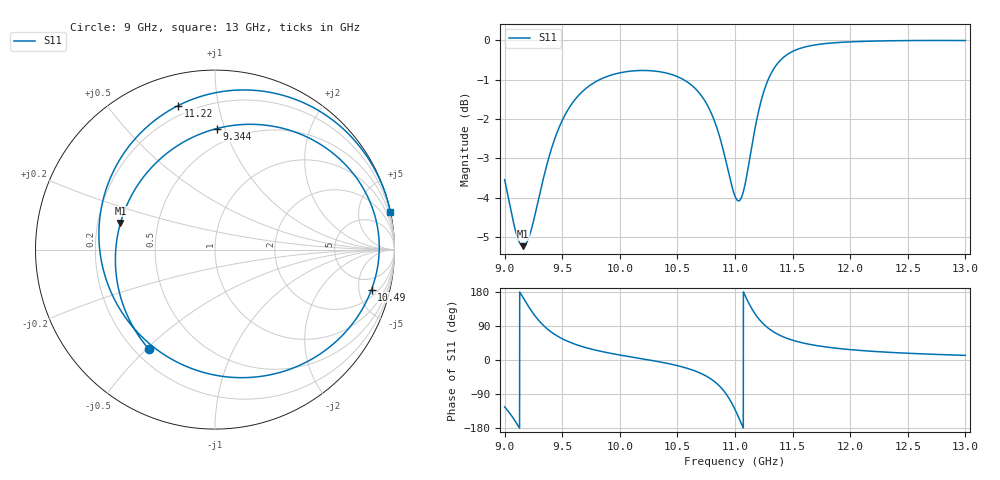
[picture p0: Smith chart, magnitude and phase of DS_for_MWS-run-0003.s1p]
! TOUCHSTONE file generated by CST DESIGN STUDIO
! Date and time: Tue Feb  4 14:30:02 2025
! Project name: C:\Work\MatlabApps\UnitCellOptimizationMatlab\CST\unitcell.cst
! Tree item: Tasks\Sweep1\SPara1\S-Parameters
! Header version: 2024
! Port assignment regex: !\s*Touchstone port\s*([0-9]+)\s*=\s*(CST MWS port|CST DES external port|CST DES block port)\s*(.+)\s* \(\"(.*)\"\)(\s*mode\s*([0-9]+))?.*
! Touchstone port assignment:
! Touchstone port 1 = CST DES external port 1 ("")
# GHz S MA R 50
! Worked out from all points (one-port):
!   4001 points, 9 GHz to 13 GHz, reference 50 ohm
!   lowest |S11| = -5.2 dB at 9.161 GHz (marker M1), VSWR 3.42, Z = 14.9 + j6.32 ohm
!   |S11| at or under -10 dB: nowhere
!   S11 on the Smith chart (normalised r, x): 9 GHz: 0.26, -0.51; 9.344 GHz: 0.38, +0.94; 10.49 GHz: 2.89, -6.76; 11.22 GHz: 0.15, +0.76; 13 GHz: 0.03, +9.38
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9  0.6651 -123.8
9.089  0.5767 -159.9
9.161  0.5473 164.2
9.254  0.5916 120.5
9.344  0.6742 89.3
9.5  0.7907 56.2
9.709  0.8694 32.3
10  0.9092 13.2
10.264  0.9149 -0.5
10.492  0.9001 -14.3
10.5  0.8991 -14.9
10.665  0.8653 -30.3
10.787  0.8123 -49.2
10.851  0.7673 -64.5
10.913  0.7104 -85.4
10.958  0.6659 -106.1
11  0.6336 -130.4
11.051  0.6289 -164.9
11.097  0.6668 163.9
11.159  0.752 128.9
11.218  0.8281 104.4
11.275  0.8817 87.3
11.349  0.926 71.6
11.5  0.968 52.2
11.701  0.987 38.4
12  0.9955 27.4
12.5  0.9993 17.8
13  0.9993 12.2
